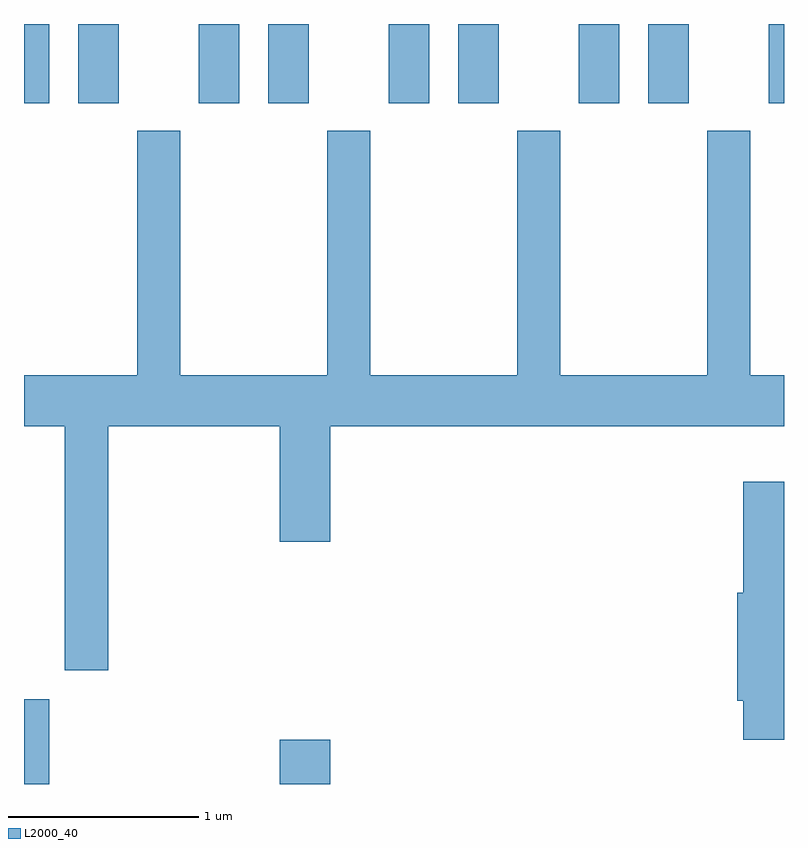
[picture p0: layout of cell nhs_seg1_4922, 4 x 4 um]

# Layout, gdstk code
import gdstk
lib = gdstk.Library(unit=1e-6, precision=1e-09)
def R(c, l, rs):  # rectangles x0, y0, x1, y1
    for r in rs: c.add(gdstk.rectangle(r[:2], r[2:], *l))
def P(c, l, *ps):  # polygons
    for p in ps: c.add(gdstk.Polygon(p, *l))
L2000_40 = (2000, 40)

nhs_seg1_4922 = lib.new_cell('nhs_seg1_4922')
R(nhs_seg1_4922, L2000_40, [(333.611,877.712,333.744,878.159), (334.956,877.712,335.224,877.944), (333.611,881.296,333.744,881.712), (333.896,881.296,334.109,881.712), (334.531,881.296,334.744,881.712), (334.896,881.296,335.109,881.712), (335.531,881.296,335.744,881.712), (335.896,881.296,336.109,881.712), (336.531,881.296,336.744,881.712), (336.896,881.296,337.109,881.712), (337.531,881.296,337.611,881.712)])
P(nhs_seg1_4922, L2000_40, [(334.054,879.596),(334.956,879.596),(334.956,878.986),(335.224,878.986),(335.224,879.596),(337.611,879.596),(337.611,879.864),(337.434,879.864),(337.434,881.149),(337.206,881.149),(337.206,879.864),(336.434,879.864),(336.434,881.149),(336.206,881.149),(336.206,879.864),(335.434,879.864),(335.434,881.149),(335.206,881.149),(335.206,879.864),(334.434,879.864),(334.434,881.149),(334.206,881.149),(334.206,879.864),(333.611,879.864),(333.611,879.596),(333.826,879.596),(333.826,878.311),(334.054,878.311)],
  [(337.611,879.304),(337.396,879.304),(337.396,878.719),(337.366,878.719),(337.366,878.151),(337.396,878.151),(337.396,877.946),(337.611,877.946)])

lib.write_gds('nhs_seg1_4922.gds')
